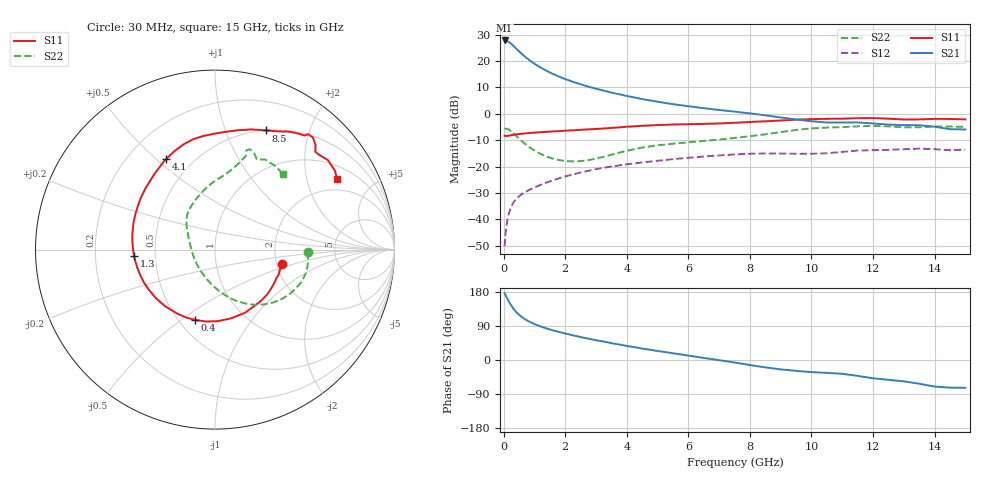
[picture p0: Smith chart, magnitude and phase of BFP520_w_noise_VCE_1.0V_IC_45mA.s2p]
! Infineon Technologies  Discrete & RF Semiconductors
! BFP520
! VCE =  1.0 V,  IC =  45 mA
! Common Emitter S-Parameters:  Oct 2015
# GHz  S  MA  R  50
!  f  S11  S21  S12  S22
! GHz  MAG  ANG  MAG  ANG  MAG  ANG  MAG  ANG
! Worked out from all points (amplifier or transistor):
!   109 points, 30 MHz to 15 GHz, reference 50 ohm
!   highest |S21| = 27.8 dB at 30 MHz (marker M1)
!   |S21| within 3 dB of that: start of sweep to 401.4 MHz
!   unconditionally stable (mu >= 1): start of sweep to 204.1 MHz; 611.5 MHz to end of sweep
!   at 450 MHz: K = 0.92, MSG = 28.0 dB, |S12| = -31.8 dB
!   at 4 GHz: K = 1.58, MAG = 8.5 dB, |S12| = -19.1 dB
!   at 15 GHz: K = 1.66, MAG = -0.9 dB, |S12| = -13.6 dB
!   lowest NFmin = 3.07 dB at 450 MHz
!   S11 on the Smith chart (normalised r, x): 30 MHz: 2.15, -0.39; 400 MHz: 0.60, -0.57; 1.3 GHz: 0.38, -0.03; 4.1 GHz: 0.36, +0.54; 8.5 GHz: 0.50, +1.39; 15 GHz: 1.49, +3.06
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0.03  0.3833 -11.7  24.61 176.3  0.0031 103.3  0.5159 -1.7
0.07  0.3768 -25.2  24.49 169.5  0.006 87.4  0.5233 -9.2
0.11  0.3816 -37.8  24.02 163.2  0.009 82.3  0.5209 -15.9
0.15  0.3836 -50.3  23.3 156.9  0.0117 77.6  0.5088 -22.4
0.2  0.3893 -64.2  22.3 149.8  0.0148 72.6  0.488 -29.7
0.25  0.3934 -76.5  21.13 143.2  0.0176 68.6  0.4633 -36.5
0.3  0.399 -87.6  19.85 137.3  0.02 65.5  0.4367 -42.6
0.4  0.4075 -105.7  17.45 127.3  0.0241 60.9  0.3854 -53.0
0.5  0.4143 -120.1  15.31 119.4  0.0274 57.9  0.3391 -61.7
0.6  0.4207 -131.5  13.53 112.7  0.0303 56.0  0.3004 -69.2
0.7  0.4265 -140.9  12.04 107.2  0.0329 54.8  0.2678 -75.9
1  0.4405 -161.5  8.912 94.8  0.0402 53.0  0.2016 -93.1
1.3  0.4524 -175.8  6.994 85.7  0.0475 52.0  0.1638 -109.1
1.9  0.4744 164.0  4.806 71.9  0.0624 49.4  0.1299 -140.9
2.6  0.5018 146.3  3.479 58.8  0.0796 44.7  0.1289 -175.5
4.1  0.5731 118.2  2.122 35.8  0.1123 31.5  0.2052 140.3
5.1  0.6155 105.2  1.659 22.6  0.1306 23.0  0.2566 125.7
7.6  0.6808 78.0  1.085 -7.9  0.1708 -0.5  0.3541 96.4
8.5  0.7221 66.8  0.935 -19.5  0.1773 -10.1  0.4094 84.5
10.5  0.8044 52.5  0.684 -34.0  0.179 -21.5  0.5485 71.8
13  0.7806 44.3  0.612 -56.4  0.2131 -42.1  0.5554 65.3
15  0.7854 30.0  0.506 -73.5  0.2098 -58.2  0.5676 48.2
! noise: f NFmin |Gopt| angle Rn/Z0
0.45  3.07  0.16  -154  0.29
0.9  3.08  0.17  -149  0.32
1.9  3.17  0.24  -125  0.36
2.4  3.18  0.24  -123  0.34
3.5  3.14  0.23  -108  0.41
